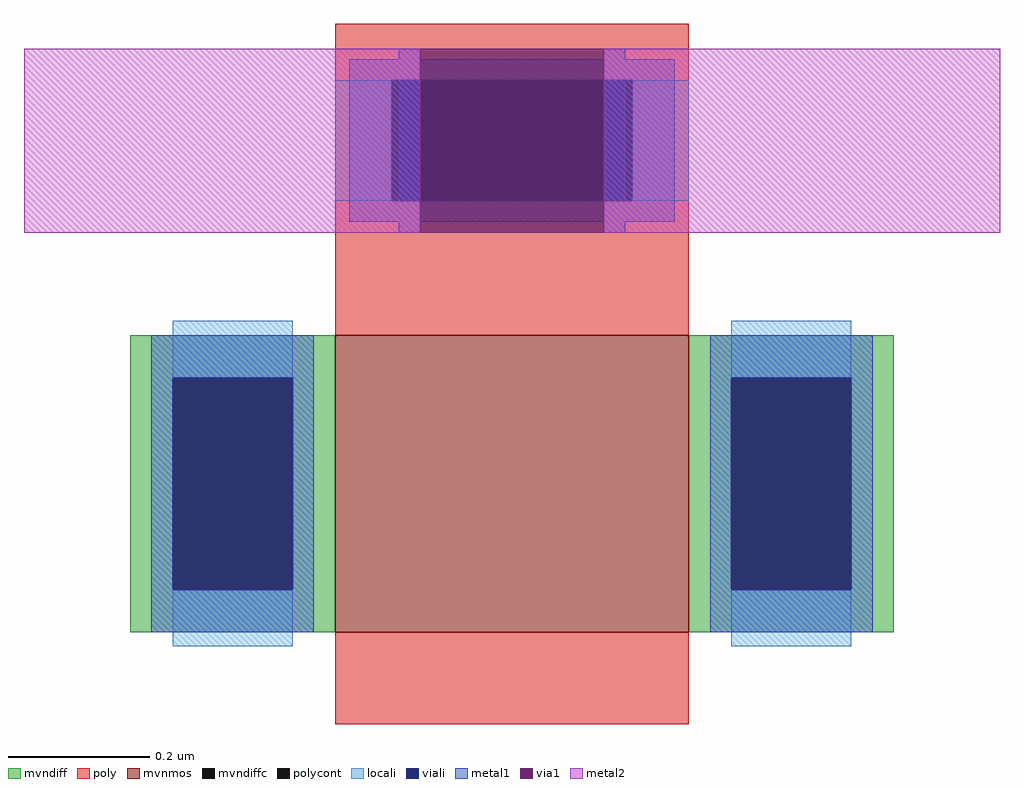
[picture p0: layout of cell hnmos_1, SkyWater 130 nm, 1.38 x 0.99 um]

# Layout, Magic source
magic
tech sky130A
magscale 1 2
<< metal1 >>
rect 65 142 71 194
rect 123 142 129 194
<< via1 >>
rect 71 142 123 194
<< metal2 >>
rect -41 142 71 194
rect 123 142 235 194
use sky130_fd_pr__nfet_g5v0d10v5_NQHLCX  sky130_fd_pr__nfet_g5v0d10v5_NQHLCX_0
transform 1 0 97 0 1 102
box -108 -99 108 99
<< end >>

# cell sky130_fd_pr__nfet_g5v0d10v5_NQHLCX: kit device sky130_fd_pr__nfet_g5v0d10v5, w 0.420 l 0.50 m 1 nf 1 diffcov 100 polycov 100 guard 0 glc 1 grc 1 gtc 1 gbc 1 tbcov 100 rlcov 100 topc 1 botc 0 poverlap 0 doverlap 1 lmin 0.50 wmin 0.42 compatible {sky130_fd_pr__nfet_01v8 sky130_fd_pr__nfet_01v8_lvt sky130_fd_bs_flash__special_sonosfet_star sky130_fd_pr__nfet_g5v0d10v5 sky130_fd_pr__nfet_05v0_nvt sky130_fd_pr__nfet_03v3_nvt} full_metal 1 viasrc 100 viadrn 100 viagate 100 viagb 0 viagr 0 viagl 0 viagt 0
